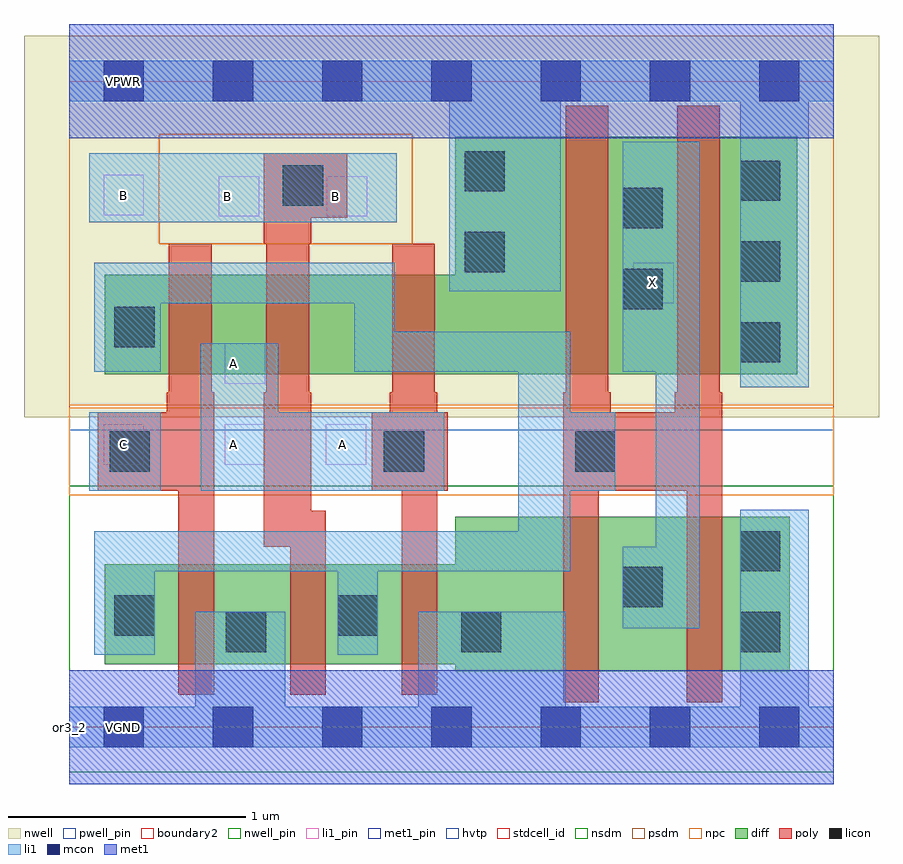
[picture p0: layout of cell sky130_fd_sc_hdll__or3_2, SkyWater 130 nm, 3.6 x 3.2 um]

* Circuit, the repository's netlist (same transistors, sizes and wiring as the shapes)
* Copyright 2020 The SkyWater PDK Authors
*
* Licensed under the Apache License, Version 2.0 (the "License");
* you may not use this file except in compliance with the License.
* You may obtain a copy of the License at
*
*     https://www.apache.org/licenses/LICENSE-2.0
*
* Unless required by applicable law or agreed to in writing, software
* distributed under the License is distributed on an "AS IS" BASIS,
* WITHOUT WARRANTIES OR CONDITIONS OF ANY KIND, either express or implied.
* See the License for the specific language governing permissions and
* limitations under the License.
*
* SPDX-License-Identifier: Apache-2.0

.SUBCKT sky130_fd_sc_hdll__or3_2 A B C VGND VNB VPB VPWR X
*.PININFO A:I B:I C:I VGND:I VNB:I VPB:I VPWR:I X:O
MMP0 VPWR A sndPA VPB sky130_fd_pr__pfet_01v8_hvt m=1 w=0.42U l=0.18U mult=1 sa=0.265
+ sb=0.265 sd=0.28 area=0.063 perim=1.14
MMP1 sndPA B sndPB VPB sky130_fd_pr__pfet_01v8_hvt m=1 w=0.42U l=0.18U mult=1 sa=0.265
+ sb=0.265 sd=0.28 area=0.063 perim=1.14
MMP2 sndPB C y VPB sky130_fd_pr__pfet_01v8_hvt m=1 w=0.42U l=0.18U mult=1 sa=0.265
+ sb=0.265 sd=0.28 area=0.063 perim=1.14
MMIP3 X y VPWR VPB sky130_fd_pr__pfet_01v8_hvt m=2 w=1.0U l=0.18U mult=1 sa=0.265
+ sb=0.265 sd=0.28 area=0.063 perim=1.14
MMN0 y A VGND VNB sky130_fd_pr__nfet_01v8 m=1 w=0.42U l=0.15U mult=1 sa=0.265 sb=0.265
+ sd=0.28 area=0.063 perim=1.14
MMN1 y B VGND VNB sky130_fd_pr__nfet_01v8 m=1 w=0.42U l=0.15U mult=1 sa=0.265 sb=0.265
+ sd=0.28 area=0.063 perim=1.14
MMN2 y C VGND VNB sky130_fd_pr__nfet_01v8 m=1 w=0.42U l=0.15U mult=1 sa=0.265 sb=0.265
+ sd=0.28 area=0.063 perim=1.14
MMIN3 X y VGND VNB sky130_fd_pr__nfet_01v8 m=2 w=0.65U l=0.15U mult=1 sa=0.265
+ sb=0.265 sd=0.28 area=0.063 perim=1.14
.ENDS sky130_fd_sc_hdll__or3_2

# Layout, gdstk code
import gdstk
lib = gdstk.Library(unit=1e-6, precision=1e-09)
def R(c, l, rs):  # rectangles x0, y0, x1, y1
    for r in rs: c.add(gdstk.rectangle(r[:2], r[2:], *l))
def A(c, l, x, y, w, h, nx, ny, dx, dy):  # array of equal rectangles
    R(c, l, [(x+i*dx, y+j*dy, x+i*dx+w, y+j*dy+h) for i in range(nx) for j in range(ny)])
def P(c, l, *ps):  # polygons
    for p in ps: c.add(gdstk.Polygon(p, *l))
nwell_pin = (64, 16)
nwell = (64, 20)
diff = (65, 20)
poly = (66, 20)
licon = (66, 44)
li1_pin = (67, 16)
li1 = (67, 20)
mcon = (67, 44)
met1_pin = (68, 16)
met1 = (68, 20)
hvtp = (78, 44)
stdcell_id = (81, 4)
nsdm = (93, 44)
psdm = (94, 20)
npc = (95, 20)
pwell_pin = (122, 16)
boundary2 = (236, 0)

sky130_fd_sc_hdll__or3_2 = lib.new_cell('sky130_fd_sc_hdll__or3_2')
R(sky130_fd_sc_hdll__or3_2, nwell_pin, [(0.145,2.635,0.315,2.805)])
R(sky130_fd_sc_hdll__or3_2, nwell, [(-0.19,1.305,3.41,2.91)])
P(sky130_fd_sc_hdll__or3_2, diff, [(3.065,2.485),(1.625,2.485),(1.625,1.905),(0.15,1.905),(0.15,1.485),(3.065,1.485)],
  [(3.035,0.885),(1.625,0.885),(1.625,0.685),(0.15,0.685),(0.15,0.265),(1.625,0.265),(1.625,0.235),(3.035,0.235)])
P(sky130_fd_sc_hdll__or3_2, poly, [(0.61,1.41),(0.6,1.41),(0.6,2.035),(0.42,2.035),(0.42,1.41),(0.41,1.41),(0.41,1.325),(0.12,1.325),(0.12,0.995),(0.46,0.995),(0.46,0.135),(0.61,0.135)],
  [(1.17,2.415),(0.82,2.415),(0.82,2.035),(0.83,2.035),(0.83,1.41),(0.82,1.41),(0.82,0.76),(0.93,0.76),(0.93,0.135),(1.08,0.135),(1.08,0.91),(1.02,0.91),(1.02,1.41),(1.01,1.41),(1.01,2.035),(1.02,2.035),(1.02,2.145),(1.17,2.145)],
  [(1.595,1.325),(1.55,1.325),(1.55,1.41),(1.54,1.41),(1.54,2.035),(1.36,2.035),(1.36,1.41),(1.35,1.41),(1.35,1.325),(1.275,1.325),(1.275,0.995),(1.4,0.995),(1.4,0.135),(1.55,0.135),(1.55,0.995),(1.595,0.995)],
  [(2.75,1.41),(2.74,1.41),(2.74,2.615),(2.56,2.615),(2.56,1.41),(2.55,1.41),(2.55,1.325),(2.28,1.325),(2.28,1.41),(2.27,1.41),(2.27,2.615),(2.09,2.615),(2.09,1.41),(2.08,1.41),(2.08,0.105),(2.23,0.105),(2.23,0.995),(2.6,0.995),(2.6,0.105),(2.75,0.105)])
A(sky130_fd_sc_hdll__or3_2, licon, 2.825, 1.535, 0.17, 0.17, 1, 3, 0, 0.34)
R(sky130_fd_sc_hdll__or3_2, licon, [(0.66,0.315,0.83,0.485), (1.65,0.315,1.82,0.485), (2.825,0.315,2.995,0.485), (0.19,0.385,0.36,0.555), (1.13,0.385,1.3,0.555), (2.33,0.505,2.5,0.675), (2.825,0.655,2.995,0.825), (0.17,1.075,0.34,1.245), (1.325,1.075,1.495,1.245), (2.13,1.075,2.3,1.245), (0.19,1.6,0.36,1.77), (2.33,1.76,2.5,1.93), (1.665,1.915,1.835,2.085), (2.33,2.1,2.5,2.27), (0.9,2.195,1.07,2.365), (1.665,2.255,1.835,2.425)])
R(sky130_fd_sc_hdll__or3_2, li1_pin, [(0.145,1.105,0.315,1.275), (0.655,1.105,0.825,1.275), (1.08,1.105,1.25,1.275), (0.655,1.445,0.825,1.615), (2.375,1.785,2.545,1.955), (0.63,2.15,0.8,2.32), (1.085,2.15,1.255,2.32), (0.145,2.155,0.315,2.325)])
R(sky130_fd_sc_hdll__or3_2, li1, [(0.085,0.995,0.385,1.325), (0.085,2.125,1.38,2.415)])
P(sky130_fd_sc_hdll__or3_2, li1, [(2.3,1.325),(2.11,1.325),(2.11,1.665),(1.37,1.665),(1.37,1.955),(0.105,1.955),(0.105,1.495),(0.385,1.495),(0.385,1.785),(1.2,1.785),(1.2,1.495),(1.89,1.495),(1.89,0.825),(0.105,0.825),(0.105,0.305),(0.36,0.305),(0.36,0.655),(1.13,0.655),(1.13,0.305),(1.3,0.305),(1.3,0.655),(2.11,0.655),(2.11,0.995),(2.3,0.995)],
  [(1.58,1.325),(0.88,1.325),(0.88,1.615),(0.555,1.615),(0.555,0.995),(1.58,0.995)],
  [(3.22,0.085),(3.115,0.085),(3.115,0.915),(2.825,0.915),(2.825,0.085),(2.09,0.085),(2.09,0.485),(1.47,0.485),(1.47,0.085),(0.91,0.085),(0.91,0.485),(0.53,0.485),(0.53,0.085),(0,0.085),(0,-0.085),(3.22,-0.085)],
  [(3.22,2.805),(0,2.805),(0,2.635),(1.6,2.635),(1.6,1.835),(2.07,1.835),(2.07,2.635),(2.825,2.635),(2.825,1.43),(3.115,1.43),(3.115,2.635),(3.22,2.635)],
  [(2.655,2.465),(2.33,2.465),(2.33,1.495),(2.47,1.495),(2.47,0.76),(2.33,0.76),(2.33,0.415),(2.655,0.415)])
A(sky130_fd_sc_hdll__or3_2, mcon, 0.145, -0.085, 0.17, 0.17, 7, 2, 0.46, 2.72)
R(sky130_fd_sc_hdll__or3_2, met1_pin, [(0.145,-0.085,0.315,0.085), (0.145,2.635,0.315,2.805)])
R(sky130_fd_sc_hdll__or3_2, met1, [(0,-0.24,3.22,0.24), (0,2.48,3.22,2.96)])
R(sky130_fd_sc_hdll__or3_2, hvtp, [(0,1.25,3.22,2.72)])
R(sky130_fd_sc_hdll__or3_2, stdcell_id, [(0,0,3.22,2.72)])
R(sky130_fd_sc_hdll__or3_2, nsdm, [(0,-0.19,3.22,1.015)])
P(sky130_fd_sc_hdll__or3_2, psdm, [(3.22,2.91),(1.445,2.91),(1.445,2.035),(0.38,2.035),(0.38,2.495),(1.445,2.495),(1.445,2.91),(0,2.91),(0,1.355),(3.22,1.355)])
R(sky130_fd_sc_hdll__or3_2, npc, [(0,0.975,3.22,1.345), (0.38,2.035,1.445,2.495)])
R(sky130_fd_sc_hdll__or3_2, pwell_pin, [(0.145,-0.085,0.315,0.085)])
R(sky130_fd_sc_hdll__or3_2, boundary2, [(0,0,3.22,2.72)])
sky130_fd_sc_hdll__or3_2.add(gdstk.Label('A', (0.69,1.19), layer=67, texttype=5))
sky130_fd_sc_hdll__or3_2.add(gdstk.Label('A', (1.15,1.19), layer=67, texttype=5))
sky130_fd_sc_hdll__or3_2.add(gdstk.Label('B', (0.23,2.24), layer=67, texttype=5))
sky130_fd_sc_hdll__or3_2.add(gdstk.Label('X', (2.455,1.87), layer=67, texttype=5))
sky130_fd_sc_hdll__or3_2.add(gdstk.Label('A', (0.69,1.53), layer=67, texttype=5))
sky130_fd_sc_hdll__or3_2.add(gdstk.Label('B', (0.665,2.235), layer=67, texttype=5))
sky130_fd_sc_hdll__or3_2.add(gdstk.Label('C', (0.23,1.19), layer=67, texttype=5))
sky130_fd_sc_hdll__or3_2.add(gdstk.Label('B', (1.12,2.235), layer=67, texttype=5))
sky130_fd_sc_hdll__or3_2.add(gdstk.Label('VGND', (0.23,0), layer=68, texttype=5))
sky130_fd_sc_hdll__or3_2.add(gdstk.Label('VPWR', (0.23,2.72), layer=68, texttype=5))
sky130_fd_sc_hdll__or3_2.add(gdstk.Label('VPB', (0.23,2.72), layer=64, texttype=5))
sky130_fd_sc_hdll__or3_2.add(gdstk.Label('VNB', (0.23,0), layer=64, texttype=59))
sky130_fd_sc_hdll__or3_2.add(gdstk.Label('or3_2', (0,0), layer=83, texttype=44))

lib.write_gds('sky130_fd_sc_hdll__or3_2.gds')
